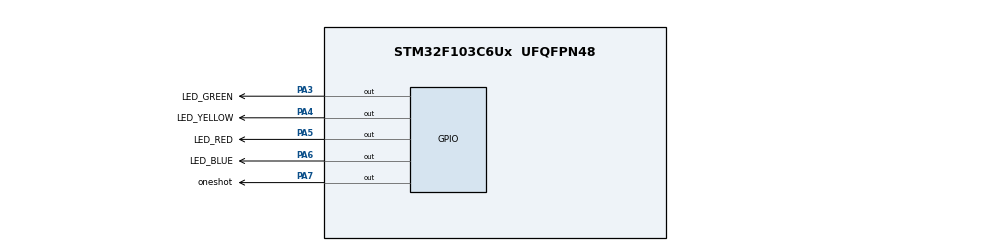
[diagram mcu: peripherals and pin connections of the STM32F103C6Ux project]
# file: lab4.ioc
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Mcu.Family=STM32F1
Mcu.Name=STM32F103C6Ux
Mcu.Package=UFQFPN48
NVIC.PriorityGroup=NVIC_PRIORITYGROUP_4
NVIC.TIM2_IRQn=true\:0\:0\:false\:false\:true\:true\:true
PA3.GPIO_Label=LED_GREEN
PA3.Signal=GPIO_Output
PA4.GPIO_Label=LED_YELLOW
PA4.Signal=GPIO_Output
PA5.GPIO_Label=LED_RED
PA5.Signal=GPIO_Output
PA6.GPIO_Label=LED_BLUE
PA6.Signal=GPIO_Output
PA7.GPIO_Label=oneshot
PA7.Signal=GPIO_Output
ProjectManager.HeapSize=0x200
ProjectManager.StackSize=0x400
ProjectManager.TargetToolchain=STM32CubeIDE
RCC.APB1Freq_Value=8000000
RCC.APB2Freq_Value=8000000
TIM2.Period=9
TIM2.Prescaler=7999
VP_SYS_VS_ND.Mode=No_Debug
VP_TIM2_VS_ClockSourceINT.Mode=Internal
board=custom

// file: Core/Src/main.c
/* USER CODE BEGIN Header */
/**
  ******************************************************************************
  * @file           : main.c
  * @brief          : Main program body
  ******************************************************************************
  * @attention
  *
  * <h2><center>&copy; Copyright (c) 2025 STMicroelectronics.
  * All rights reserved.</center></h2>
  *
  * This software component is licensed by ST under BSD 3-Clause license,
  * the "License"; You may not use this file except in compliance with the
  * License. You may obtain a copy of the License at:
  *                        opensource.org/licenses/BSD-3-Clause
  *
  ******************************************************************************
  */
/* USER CODE END Header */
#include "main.h"

/* USER CODE BEGIN Includes */
#include "scheduler.h"
/* USER CODE END Includes */

TIM_HandleTypeDef htim2;

void SystemClock_Config(void);
static void MX_TIM2_Init(void);
static void MX_GPIO_Init(void);

/* USER CODE BEGIN 0 */
void green(){
	HAL_GPIO_TogglePin(LED_GREEN_GPIO_Port, LED_GREEN_Pin);
}
void yellow(){
	HAL_GPIO_TogglePin(LED_YELLOW_GPIO_Port, LED_YELLOW_Pin);
}
void red(){
	HAL_GPIO_TogglePin(LED_RED_GPIO_Port, LED_RED_Pin);
}
void blue(){
	HAL_GPIO_TogglePin(LED_BLUE_GPIO_Port, LED_BLUE_Pin);
}
void one(){
	HAL_GPIO_TogglePin(oneshot_GPIO_Port, oneshot_Pin);
}
/* USER CODE END 0 */

int main(void)
{

  /* MCU Configuration--------------------------------------------------------*/

  /* Reset of all peripherals, Initializes the Flash interface and the Systick. */
  HAL_Init();

  /* Configure the system clock */
  SystemClock_Config();

  /* Initialize all configured peripherals */
  MX_TIM2_Init();
  MX_GPIO_Init();
  /* USER CODE BEGIN 2 */
  HAL_TIM_Base_Start_IT (& htim2);
  /* USER CODE END 2 */

  /* Infinite loop */
  /* USER CODE BEGIN WHILE */
  SCH_Init();
  SCH_Add_Task(green, 100, 50, 1);//give id mannually
  SCH_Add_Task(yellow, 100, 100, 2);
  SCH_Add_Task(red, 100, 150, 3);
  SCH_Add_Task(blue, 100, 200, 4);
  SCH_Add_Task(one, 250, 0, 5);
  SCH_Delete(4);
  while (1)
  {
	  SCH_Dispatch_Tasks();
    /* USER CODE END WHILE */

  }
}

void SystemClock_Config(void)
{
  RCC_OscInitTypeDef RCC_OscInitStruct = {0};
  RCC_ClkInitTypeDef RCC_ClkInitStruct = {0};

  /** Initializes the RCC Oscillators according to the specified parameters
  * in the RCC_OscInitTypeDef structure.
  */
  RCC_OscInitStruct.OscillatorType = RCC_OSCILLATORTYPE_HSI;
  RCC_OscInitStruct.HSIState = RCC_HSI_ON;
  RCC_OscInitStruct.HSICalibrationValue = RCC_HSICALIBRATION_DEFAULT;
  RCC_OscInitStruct.PLL.PLLState = RCC_PLL_NONE;
  if (HAL_RCC_OscConfig(&RCC_OscInitStruct) != HAL_OK)
  {
    Error_Handler();
  }
  /** Initializes the CPU, AHB and APB buses clocks
  */
  RCC_ClkInitStruct.ClockType = RCC_CLOCKTYPE_HCLK|RCC_CLOCKTYPE_SYSCLK
                              |RCC_CLOCKTYPE_PCLK1|RCC_CLOCKTYPE_PCLK2;
  RCC_ClkInitStruct.SYSCLKSource = RCC_SYSCLKSOURCE_HSI;
  RCC_ClkInitStruct.AHBCLKDivider = RCC_SYSCLK_DIV1;
  RCC_ClkInitStruct.APB1CLKDivider = RCC_HCLK_DIV1;
  RCC_ClkInitStruct.APB2CLKDivider = RCC_HCLK_DIV1;

  if (HAL_RCC_ClockConfig(&RCC_ClkInitStruct, FLASH_LATENCY_0) != HAL_OK)
  {
    Error_Handler();
  }
}

static void MX_TIM2_Init(void)
{

  TIM_ClockConfigTypeDef sClockSourceConfig = {0};
  TIM_MasterConfigTypeDef sMasterConfig = {0};

  htim2.Instance = TIM2;
  htim2.Init.Prescaler = 7999;
  htim2.Init.CounterMode = TIM_COUNTERMODE_UP;
  htim2.Init.Period = 9;
  htim2.Init.ClockDivision = TIM_CLOCKDIVISION_DIV1;
  htim2.Init.AutoReloadPreload = TIM_AUTORELOAD_PRELOAD_DISABLE;
  if (HAL_TIM_Base_Init(&htim2) != HAL_OK)
  {
    Error_Handler();
  }
  sClockSourceConfig.ClockSource = TIM_CLOCKSOURCE_INTERNAL;
  if (HAL_TIM_ConfigClockSource(&htim2, &sClockSourceConfig) != HAL_OK)
  {
    Error_Handler();
  }
  sMasterConfig.MasterOutputTrigger = TIM_TRGO_RESET;
  sMasterConfig.MasterSlaveMode = TIM_MASTERSLAVEMODE_DISABLE;
  if (HAL_TIMEx_MasterConfigSynchronization(&htim2, &sMasterConfig) != HAL_OK)
  {
    Error_Handler();
  }

}

static void MX_GPIO_Init(void)
{
  GPIO_InitTypeDef GPIO_InitStruct = {0};

  /* GPIO Ports Clock Enable */
  __HAL_RCC_GPIOA_CLK_ENABLE();

  /*Configure GPIO pin Output Level */
  HAL_GPIO_WritePin(GPIOA, LED_GREEN_Pin|LED_YELLOW_Pin|LED_RED_Pin|LED_BLUE_Pin
                          |oneshot_Pin, GPIO_PIN_RESET);

  /*Configure GPIO pins : LED_GREEN_Pin LED_YELLOW_Pin LED_RED_Pin LED_BLUE_Pin
                           oneshot_Pin */
  GPIO_InitStruct.Pin = LED_GREEN_Pin|LED_YELLOW_Pin|LED_RED_Pin|LED_BLUE_Pin
                          |oneshot_Pin;
  GPIO_InitStruct.Mode = GPIO_MODE_OUTPUT_PP;
  GPIO_InitStruct.Pull = GPIO_NOPULL;
  GPIO_InitStruct.Speed = GPIO_SPEED_FREQ_LOW;
  HAL_GPIO_Init(GPIOA, &GPIO_InitStruct);

}

/* USER CODE BEGIN 4 */
void HAL_TIM_PeriodElapsedCallback(TIM_HandleTypeDef *htim) {
	SCH_Update();
}
/* USER CODE END 4 */

void Error_Handler(void)
{
  __disable_irq();
  while (1)
  {
  }
}

/************************ (C) COPYRIGHT STMicroelectronics *****END OF FILE****/
